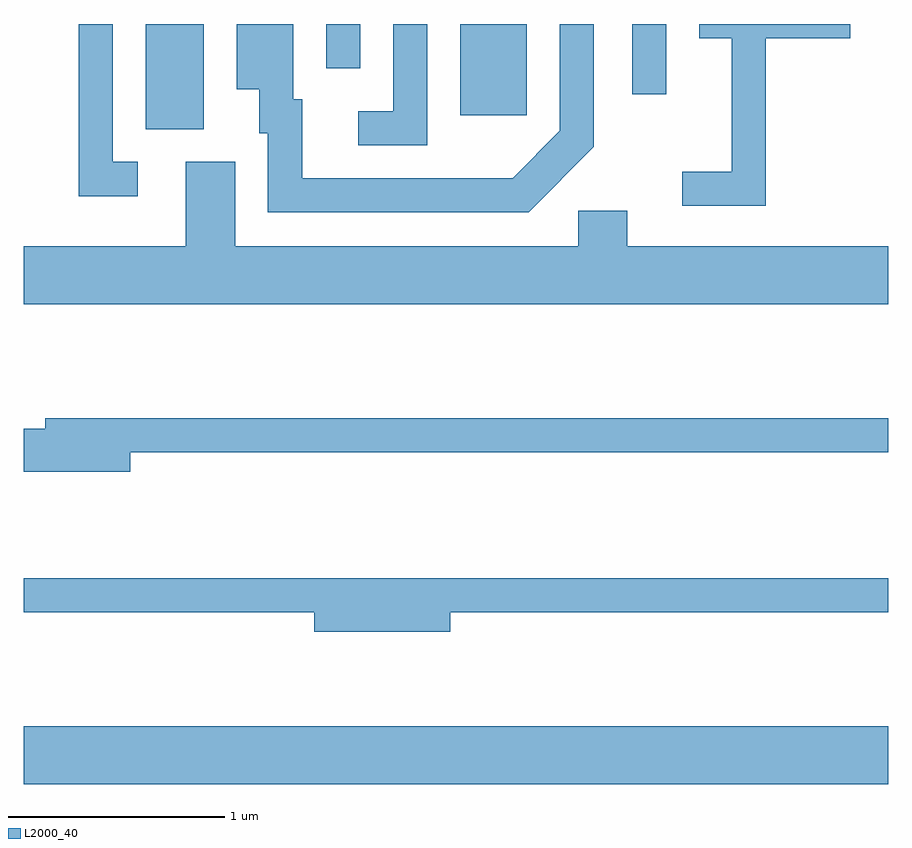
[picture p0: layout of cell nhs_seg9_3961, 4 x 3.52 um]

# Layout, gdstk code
import gdstk
lib = gdstk.Library(unit=1e-6, precision=1e-09)
def R(c, l, rs):  # rectangles x0, y0, x1, y1
    for r in rs: c.add(gdstk.rectangle(r[:2], r[2:], *l))
def P(c, l, *ps):  # polygons
    for p in ps: c.add(gdstk.Polygon(p, *l))
L2000_40 = (2000, 40)

nhs_seg9_3961 = lib.new_cell('nhs_seg9_3961')
R(nhs_seg9_3961, L2000_40, [(301.611,2002.916,305.611,2003.184), (302.176,2005.946,302.444,2006.432), (303.631,2006.011,303.939,2006.432), (304.426,2006.108,304.584,2006.432), (303.011,2006.228,303.169,2006.432)])
P(nhs_seg9_3961, L2000_40, [(305.044,2006.366),(305.434,2006.366),(305.434,2006.432),(304.736,2006.432),(304.736,2006.366),(304.886,2006.366),(304.886,2005.749),(304.658,2005.749),(304.658,2005.591),(305.044,2005.591)],
  [(303.479,2006.432),(303.321,2006.432),(303.321,2006.029),(303.158,2006.029),(303.158,2005.871),(303.479,2005.871)],
  [(302.138,2005.794),(302.024,2005.794),(302.024,2006.432),(301.866,2006.432),(301.866,2005.636),(302.138,2005.636)],
  [(304.249,2005.864),(304.249,2006.432),(304.091,2006.432),(304.091,2005.937),(303.874,2005.719),(302.899,2005.719),(302.899,2006.084),(302.859,2006.084),(302.859,2006.432),(302.596,2006.432),(302.596,2006.131),(302.701,2006.131),(302.701,2005.926),(302.741,2005.926),(302.741,2005.561),(303.947,2005.561)],
  [(305.611,2005.404),(304.404,2005.404),(304.404,2005.569),(304.176,2005.569),(304.176,2005.404),(302.589,2005.404),(302.589,2005.794),(302.361,2005.794),(302.361,2005.404),(301.611,2005.404),(301.611,2005.136),(305.611,2005.136)],
  [(302.104,2004.451),(305.611,2004.451),(305.611,2004.609),(301.711,2004.609),(301.711,2004.559),(301.611,2004.559),(301.611,2004.361),(302.104,2004.361)],
  [(303.584,2003.711),(305.611,2003.711),(305.611,2003.869),(301.611,2003.869),(301.611,2003.711),(302.956,2003.711),(302.956,2003.621),(303.584,2003.621)])

lib.write_gds('nhs_seg9_3961.gds')
